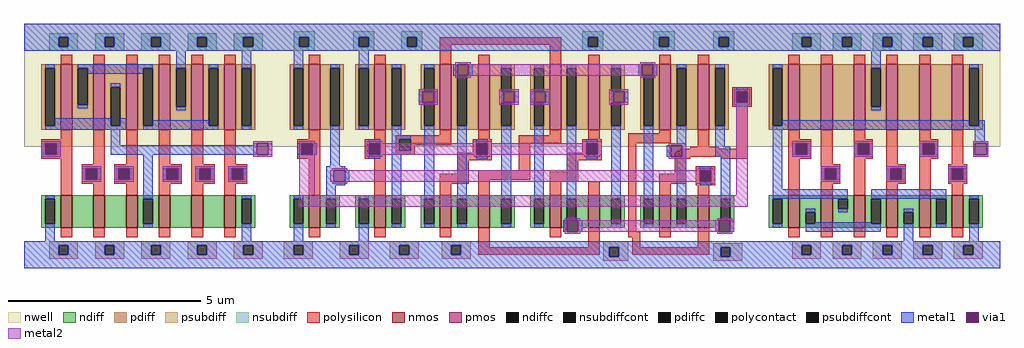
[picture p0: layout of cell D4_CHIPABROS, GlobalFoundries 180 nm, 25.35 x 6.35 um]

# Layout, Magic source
magic
tech gf180mcuD
use gf180mcu_osu_sc_gp9t3v3__aoi33_1  gf180mcu_osu_sc_gp9t3v3__aoi33_1_0
transform 1 0 -89 0 1 -50
box 106 0 235 127
use gf180mcu_osu_sc_gp9t3v3__mux4_1  gf180mcu_osu_sc_gp9t3v3__mux4_1_0
transform 1 0 180 0 1 -50
box -34 0 215 127
use gf180mcu_osu_sc_gp9t3v3__oai33_1  gf180mcu_osu_sc_gp9t3v3__oai33_1_0
transform 1 0 457 0 1 -47
box -62 -3 67 124
<< end >>

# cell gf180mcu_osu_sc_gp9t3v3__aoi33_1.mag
magic
tech gf180mcuD
<< nwell >>
rect 106 63 241 127
<< nmos >>
rect 125 21 131 38
rect 142 21 148 38
rect 159 21 165 38
rect 176 21 182 38
rect 193 21 199 38
rect 210 21 216 38
<< pmos >>
rect 125 72 131 106
rect 142 72 148 106
rect 159 72 165 106
rect 176 72 182 106
rect 193 72 199 106
rect 210 72 216 106
<< ndiff >>
rect 115 36 125 38
rect 115 23 117 36
rect 122 23 125 36
rect 115 21 125 23
rect 131 21 142 38
rect 148 21 159 38
rect 165 36 176 38
rect 165 23 168 36
rect 173 23 176 36
rect 165 21 176 23
rect 182 21 193 38
rect 199 21 210 38
rect 216 36 226 38
rect 216 23 219 36
rect 224 23 226 36
rect 216 21 226 23
<< pdiff >>
rect 115 104 125 106
rect 115 74 117 104
rect 122 74 125 104
rect 115 72 125 74
rect 131 104 142 106
rect 131 85 134 104
rect 139 85 142 104
rect 131 72 142 85
rect 148 94 159 106
rect 148 74 151 94
rect 156 74 159 94
rect 148 72 159 74
rect 165 104 176 106
rect 165 74 168 104
rect 173 74 176 104
rect 165 72 176 74
rect 182 104 193 106
rect 182 84 185 104
rect 190 84 193 104
rect 182 72 193 84
rect 199 104 210 106
rect 199 74 202 104
rect 207 74 210 104
rect 199 72 210 74
rect 216 104 226 106
rect 216 74 219 104
rect 224 74 226 104
rect 216 72 226 74
<< ndiffc >>
rect 117 23 122 36
rect 168 23 173 36
rect 219 23 224 36
<< pdiffc >>
rect 117 74 122 104
rect 134 85 139 104
rect 151 74 156 94
rect 168 74 173 104
rect 185 84 190 104
rect 202 74 207 104
rect 219 74 224 104
<< psubdiff >>
rect 119 12 134 14
rect 119 7 124 12
rect 129 7 134 12
rect 119 5 134 7
rect 143 12 158 14
rect 143 7 148 12
rect 153 7 158 12
rect 143 5 158 7
rect 167 12 182 14
rect 167 7 172 12
rect 177 7 182 12
rect 167 5 182 7
rect 191 12 206 14
rect 191 7 196 12
rect 201 7 206 12
rect 191 5 206 7
rect 215 12 230 14
rect 215 7 220 12
rect 225 7 230 12
rect 215 5 230 7
<< nsubdiff >>
rect 119 120 134 122
rect 119 115 124 120
rect 129 115 134 120
rect 119 113 134 115
rect 143 120 158 122
rect 143 115 148 120
rect 153 115 158 120
rect 143 113 158 115
rect 167 120 182 122
rect 167 115 172 120
rect 177 115 182 120
rect 167 113 182 115
rect 191 120 206 122
rect 191 115 196 120
rect 201 115 206 120
rect 191 113 206 115
rect 215 120 230 122
rect 215 115 220 120
rect 225 115 230 120
rect 215 113 230 115
<< psubdiffcont >>
rect 124 7 129 12
rect 148 7 153 12
rect 172 7 177 12
rect 196 7 201 12
rect 220 7 225 12
<< nsubdiffcont >>
rect 124 115 129 120
rect 148 115 153 120
rect 172 115 177 120
rect 196 115 201 120
rect 220 115 225 120
<< polysilicon >>
rect 125 106 131 111
rect 142 106 148 111
rect 159 106 165 111
rect 176 106 182 111
rect 193 106 199 111
rect 210 106 216 111
rect 125 67 131 72
rect 115 65 131 67
rect 115 59 117 65
rect 123 59 131 65
rect 115 57 131 59
rect 125 38 131 57
rect 142 54 148 72
rect 159 54 165 72
rect 136 52 148 54
rect 136 46 138 52
rect 144 46 148 52
rect 136 44 148 46
rect 153 52 165 54
rect 153 46 155 52
rect 161 46 165 52
rect 153 44 165 46
rect 142 38 148 44
rect 159 38 165 44
rect 176 54 182 72
rect 193 54 199 72
rect 210 54 216 72
rect 176 52 188 54
rect 176 46 180 52
rect 186 46 188 52
rect 176 44 188 46
rect 193 52 205 54
rect 193 46 197 52
rect 203 46 205 52
rect 193 44 205 46
rect 210 52 222 54
rect 210 46 214 52
rect 220 46 222 52
rect 210 44 222 46
rect 176 38 182 44
rect 193 38 199 44
rect 210 38 216 44
rect 125 16 131 21
rect 142 16 148 21
rect 159 16 165 21
rect 176 16 182 21
rect 193 16 199 21
rect 210 16 216 21
<< polycontact >>
rect 117 59 123 65
rect 138 46 144 52
rect 155 46 161 52
rect 180 46 186 52
rect 197 46 203 52
rect 214 46 220 52
<< metal1 >>
rect 106 120 241 127
rect 106 115 124 120
rect 129 115 148 120
rect 153 115 172 120
rect 177 115 196 120
rect 201 115 220 120
rect 225 115 241 120
rect 106 113 241 115
rect 117 104 122 106
rect 134 104 173 106
rect 139 101 168 104
rect 134 83 139 85
rect 151 94 156 96
rect 122 74 151 78
rect 156 74 159 78
rect 117 72 159 74
rect 185 104 190 113
rect 185 82 190 84
rect 202 104 207 106
rect 173 74 202 77
rect 168 72 207 74
rect 219 104 224 113
rect 219 72 224 74
rect 115 59 117 65
rect 123 59 125 65
rect 151 64 156 72
rect 225 64 227 65
rect 151 59 227 64
rect 233 59 235 65
rect 136 46 138 52
rect 144 46 146 52
rect 153 46 155 52
rect 161 46 163 52
rect 117 36 122 38
rect 117 14 122 23
rect 168 36 173 59
rect 178 46 180 52
rect 186 46 188 52
rect 195 46 197 52
rect 203 46 205 52
rect 212 46 214 52
rect 220 46 222 52
rect 168 21 173 23
rect 219 36 224 38
rect 219 14 224 23
rect 106 12 241 14
rect 106 7 124 12
rect 129 7 148 12
rect 153 7 172 12
rect 177 7 196 12
rect 201 7 220 12
rect 225 7 241 12
rect 106 0 241 7
<< via1 >>
rect 117 59 123 65
rect 227 59 233 65
rect 138 46 144 52
rect 155 46 161 52
rect 180 46 186 52
rect 197 46 203 52
rect 214 46 220 52
<< metal2 >>
rect 115 65 125 66
rect 115 59 117 65
rect 123 59 125 65
rect 115 58 125 59
rect 225 65 235 66
rect 225 59 227 65
rect 233 59 235 65
rect 225 58 235 59
rect 136 52 146 53
rect 136 46 138 52
rect 144 46 146 52
rect 136 45 146 46
rect 153 52 163 53
rect 153 46 155 52
rect 161 46 163 52
rect 153 45 163 46
rect 178 52 188 53
rect 178 46 180 52
rect 186 46 188 52
rect 178 45 188 46
rect 195 52 205 53
rect 195 46 197 52
rect 203 46 205 52
rect 195 45 205 46
rect 212 52 222 53
rect 212 46 214 52
rect 220 46 222 52
rect 212 45 222 46
<< labels >>
rlabel nsubdiffcont 124 115 129 120 1 VDD
port 1 n default bidirectional
rlabel metal2 117 59 123 65 7 F
port 5 w default input
rlabel metal2 138 46 144 52 7 E
port 6 w default input
rlabel metal2 155 46 161 52 7 D
port 7 w default input
rlabel metal2 180 46 186 52 7 A
port 4 w default input
rlabel metal2 197 46 203 52 7 B
port 3 w default input
rlabel metal2 214 46 220 52 7 C
port 2 w default input
rlabel psubdiffcont 124 7 129 12 7 VSS
port 9 w default bidirectional
rlabel via1 227 59 233 65 3 OUT
port 8 e default output
<< end >>

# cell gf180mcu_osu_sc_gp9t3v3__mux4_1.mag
magic
tech gf180mcuC
<< nwell >>
rect -34 63 220 127
<< nmos >>
rect -15 21 -9 38
rect 19 21 25 38
rect 53 21 59 38
rect 73 21 79 38
rect 110 21 116 38
rect 130 21 136 38
rect 167 21 173 38
rect 187 21 193 38
<< pmos >>
rect -15 72 -9 106
rect 19 72 25 106
rect 53 72 59 106
rect 73 72 79 106
rect 110 72 116 106
rect 130 72 136 106
rect 167 72 173 106
rect 187 72 193 106
<< ndiff >>
rect -25 36 -15 38
rect -25 23 -23 36
rect -18 23 -15 36
rect -25 21 -15 23
rect -9 36 1 38
rect -9 23 -6 36
rect -1 23 1 36
rect -9 21 1 23
rect 9 36 19 38
rect 9 23 11 36
rect 16 23 19 36
rect 9 21 19 23
rect 25 36 35 38
rect 25 23 28 36
rect 33 23 35 36
rect 25 21 35 23
rect 43 36 53 38
rect 43 23 45 36
rect 50 23 53 36
rect 43 21 53 23
rect 59 36 73 38
rect 59 23 62 36
rect 67 23 73 36
rect 59 21 73 23
rect 79 36 92 38
rect 79 23 85 36
rect 90 23 92 36
rect 79 21 92 23
rect 100 36 110 38
rect 100 23 102 36
rect 107 23 110 36
rect 100 21 110 23
rect 116 36 130 38
rect 116 25 119 36
rect 124 25 130 36
rect 116 21 130 25
rect 136 36 149 38
rect 136 23 142 36
rect 147 23 149 36
rect 136 21 149 23
rect 118 19 127 21
rect 157 36 167 38
rect 157 23 159 36
rect 164 23 167 36
rect 157 21 167 23
rect 173 36 187 38
rect 173 23 176 36
rect 181 23 187 36
rect 173 21 187 23
rect 193 36 206 38
rect 193 25 199 36
rect 204 25 206 36
rect 193 21 206 25
rect 196 19 206 21
<< pdiff >>
rect -25 104 -15 106
rect -25 74 -23 104
rect -18 74 -15 104
rect -25 72 -15 74
rect -9 104 3 106
rect -9 74 -4 104
rect 1 74 3 104
rect -9 72 3 74
rect 9 104 19 106
rect 9 74 11 104
rect 16 74 19 104
rect 9 72 19 74
rect 25 104 35 106
rect 25 74 28 104
rect 33 74 35 104
rect 43 104 53 106
rect 43 93 45 104
rect 42 92 45 93
rect 50 92 53 104
rect 42 86 53 92
rect 42 85 45 86
rect 25 72 35 74
rect 43 74 45 85
rect 50 74 53 86
rect 43 72 53 74
rect 59 100 73 106
rect 59 74 62 100
rect 67 74 73 100
rect 59 72 73 74
rect 79 104 92 106
rect 79 92 85 104
rect 90 92 92 104
rect 79 86 92 92
rect 79 74 85 86
rect 90 74 92 86
rect 79 72 92 74
rect 100 104 110 106
rect 100 92 102 104
rect 107 92 110 104
rect 100 86 110 92
rect 100 74 102 86
rect 107 74 110 86
rect 100 72 110 74
rect 116 104 130 106
rect 116 74 119 104
rect 124 74 130 104
rect 116 72 130 74
rect 136 104 149 106
rect 136 92 142 104
rect 147 92 149 104
rect 156 100 167 106
rect 136 86 149 92
rect 136 74 142 86
rect 147 74 149 86
rect 136 72 149 74
rect 157 74 159 100
rect 164 74 167 100
rect 157 72 167 74
rect 173 104 187 106
rect 173 74 176 104
rect 181 74 187 104
rect 173 72 187 74
rect 193 104 203 106
rect 193 74 196 104
rect 201 74 203 104
rect 193 72 203 74
<< ndiffc >>
rect -23 23 -18 36
rect -6 23 -1 36
rect 11 23 16 36
rect 28 23 33 36
rect 45 23 50 36
rect 62 23 67 36
rect 85 23 90 36
rect 102 23 107 36
rect 119 25 124 36
rect 142 23 147 36
rect 159 23 164 36
rect 176 23 181 36
rect 199 25 204 36
<< pdiffc >>
rect -23 74 -18 104
rect -4 74 1 104
rect 11 74 16 104
rect 28 74 33 104
rect 45 92 50 104
rect 45 74 50 86
rect 62 74 67 100
rect 85 92 90 104
rect 85 74 90 86
rect 102 92 107 104
rect 102 74 107 86
rect 119 74 124 104
rect 142 92 147 104
rect 142 74 147 86
rect 159 74 164 100
rect 176 74 181 104
rect 196 74 201 104
<< psubdiff >>
rect -28 12 -13 14
rect -28 7 -23 12
rect -18 7 -13 12
rect -28 5 -13 7
rect 1 12 16 14
rect 1 7 6 12
rect 11 7 16 12
rect 1 5 16 7
rect 27 12 42 14
rect 27 7 32 12
rect 37 7 42 12
rect 27 5 42 7
rect 54 12 69 14
rect 54 7 59 12
rect 64 7 69 12
rect 138 11 151 14
rect 54 5 69 7
rect 138 6 141 11
rect 146 6 151 11
rect 195 11 210 13
rect 138 4 151 6
rect 195 6 199 11
rect 204 6 210 11
rect 195 4 210 6
<< nsubdiff >>
rect -23 120 -12 123
rect -23 115 -20 120
rect -15 115 -12 120
rect -23 113 -12 115
rect 8 120 19 123
rect 8 115 11 120
rect 16 115 19 120
rect 8 113 19 115
rect 33 120 44 123
rect 127 120 138 123
rect 33 115 36 120
rect 41 115 44 120
rect 33 113 44 115
rect 127 115 130 120
rect 135 115 138 120
rect 127 113 138 115
rect 164 120 175 123
rect 164 115 167 120
rect 172 115 175 120
rect 164 113 175 115
rect 195 120 206 123
rect 195 115 198 120
rect 203 115 206 120
rect 195 113 206 115
<< psubdiffcont >>
rect -23 7 -18 12
rect 6 7 11 12
rect 32 7 37 12
rect 59 7 64 12
rect 141 6 146 11
rect 199 6 204 11
<< nsubdiffcont >>
rect -20 115 -15 120
rect 11 115 16 120
rect 36 115 41 120
rect 130 115 135 120
rect 167 115 172 120
rect 198 115 203 120
<< polysilicon >>
rect 53 116 116 120
rect -15 106 -9 111
rect 19 106 25 111
rect 53 106 59 116
rect 73 106 79 111
rect 110 106 116 116
rect 130 106 136 111
rect 167 106 173 111
rect 187 106 193 111
rect 205 92 215 94
rect 205 86 207 92
rect 213 86 215 92
rect 205 84 215 86
rect -15 67 -9 72
rect 19 67 25 72
rect 53 69 59 72
rect -21 65 -9 67
rect -21 59 -19 65
rect -13 59 -9 65
rect -21 57 -9 59
rect 14 65 25 67
rect 14 59 16 65
rect 22 59 25 65
rect 30 67 59 69
rect 73 67 79 72
rect 110 69 116 72
rect 30 61 32 67
rect 38 64 59 67
rect 70 65 80 67
rect 38 61 40 64
rect 30 59 40 61
rect 70 60 72 65
rect 62 59 72 60
rect 78 59 80 65
rect 14 57 25 59
rect -15 38 -9 57
rect 19 38 25 57
rect 62 56 80 59
rect 94 65 116 69
rect 130 67 136 72
rect 167 70 173 72
rect 127 65 137 67
rect 62 49 68 56
rect 94 51 100 65
rect 127 60 129 65
rect 53 44 68 49
rect 73 46 100 51
rect 119 59 129 60
rect 135 59 137 65
rect 119 56 137 59
rect 151 65 173 70
rect 119 50 125 56
rect 53 38 59 44
rect 73 38 79 46
rect 110 45 125 50
rect 110 38 116 45
rect 130 38 136 45
rect -15 16 -9 21
rect 19 16 25 21
rect 53 16 59 21
rect 73 11 79 21
rect 110 16 116 21
rect 130 11 136 21
rect 151 19 155 65
rect 187 63 193 72
rect 183 62 198 63
rect 207 62 213 84
rect 178 61 213 62
rect 176 60 213 61
rect 175 58 213 60
rect 175 57 183 58
rect 199 57 213 58
rect 175 49 181 57
rect 167 44 181 49
rect 186 51 196 53
rect 186 45 188 51
rect 194 45 196 51
rect 167 38 173 44
rect 186 43 196 45
rect 187 38 193 43
rect 151 16 157 19
rect 167 16 173 21
rect 73 7 136 11
rect 153 11 157 16
rect 187 11 193 21
rect 153 7 193 11
<< polycontact >>
rect 207 86 213 92
rect -19 59 -13 65
rect 16 59 22 65
rect 32 61 38 67
rect 72 59 78 65
rect 129 59 135 65
rect 188 45 194 51
<< metal1 >>
rect -34 120 220 127
rect -34 115 -20 120
rect -15 115 11 120
rect 16 115 36 120
rect 41 115 130 120
rect 135 115 167 120
rect 172 115 198 120
rect 203 115 220 120
rect -34 113 220 115
rect -23 104 -18 113
rect -23 72 -18 74
rect -4 104 1 106
rect -21 59 -19 65
rect -13 59 -11 65
rect -4 53 1 74
rect 11 104 16 113
rect 11 72 16 74
rect 28 104 33 106
rect 45 104 50 106
rect 60 100 62 106
rect 68 100 70 106
rect 85 104 90 106
rect 42 86 44 92
rect 50 86 52 92
rect 28 69 33 74
rect 28 67 38 69
rect 16 65 22 67
rect 16 57 22 59
rect 28 61 32 67
rect 28 59 38 61
rect -6 51 4 53
rect -6 45 -2 51
rect 4 45 6 51
rect -6 43 4 45
rect -23 36 -18 38
rect -23 14 -18 23
rect -6 36 -1 43
rect -6 21 -1 23
rect 11 36 16 38
rect 11 14 16 23
rect 28 36 33 59
rect 28 21 33 23
rect 45 36 50 74
rect 45 21 50 23
rect 62 36 67 74
rect 102 104 107 106
rect 119 104 124 106
rect 85 86 86 92
rect 92 86 94 92
rect 100 86 102 92
rect 108 86 110 92
rect 72 65 78 67
rect 72 57 78 59
rect 62 21 67 23
rect 85 36 90 74
rect 85 21 90 23
rect 102 36 107 74
rect 119 36 124 74
rect 142 104 147 106
rect 156 100 158 106
rect 164 100 166 106
rect 176 104 181 106
rect 142 86 143 92
rect 149 86 151 92
rect 129 65 135 67
rect 129 57 135 59
rect 142 36 147 74
rect 102 21 107 23
rect 117 19 119 25
rect 125 19 127 25
rect 142 21 147 23
rect 159 36 164 74
rect 176 64 181 74
rect 171 58 173 64
rect 179 58 181 64
rect 196 104 201 106
rect 207 92 213 94
rect 207 84 213 86
rect 196 63 201 74
rect 196 58 204 63
rect 159 21 164 23
rect 176 36 181 58
rect 188 51 194 53
rect 188 43 194 45
rect 199 36 204 58
rect 176 21 181 23
rect 196 19 198 25
rect 204 19 206 25
rect -34 12 220 14
rect -34 7 -23 12
rect -18 7 6 12
rect 11 7 32 12
rect 37 7 59 12
rect 64 11 220 12
rect 64 7 141 11
rect -34 6 141 7
rect 146 6 199 11
rect 204 6 220 11
rect -34 0 220 6
<< via1 >>
rect -19 59 -13 65
rect 62 100 68 106
rect 44 86 50 92
rect 16 59 22 65
rect -2 45 4 51
rect 86 86 92 92
rect 102 86 108 92
rect 72 59 78 65
rect 158 100 164 106
rect 143 86 149 92
rect 129 59 135 65
rect 119 19 125 25
rect 173 58 179 64
rect 207 86 213 92
rect 188 45 194 51
rect 198 19 204 25
<< metal2 >>
rect 61 106 69 107
rect 157 106 165 107
rect 61 100 62 106
rect 68 100 158 106
rect 164 100 166 106
rect 61 99 69 100
rect 157 99 165 100
rect 42 92 52 93
rect 42 86 44 92
rect 50 86 52 92
rect 42 85 52 86
rect 84 92 94 93
rect 84 86 86 92
rect 92 86 94 92
rect 84 85 94 86
rect 100 92 110 93
rect 100 86 102 92
rect 108 86 110 92
rect 100 85 110 86
rect 141 92 151 93
rect 141 86 143 92
rect 149 86 151 92
rect 141 85 151 86
rect 206 92 214 93
rect 206 86 207 92
rect 213 86 214 92
rect 206 85 214 86
rect -20 65 -12 66
rect 15 65 23 66
rect 70 65 80 66
rect 127 65 137 66
rect -20 59 -19 65
rect -13 59 -11 65
rect 15 59 16 65
rect 22 59 72 65
rect 78 59 129 65
rect 135 59 137 65
rect 172 64 181 65
rect -20 38 -12 59
rect 15 58 23 59
rect 71 58 79 59
rect 128 58 136 59
rect 172 58 173 64
rect 179 58 181 64
rect 172 57 181 58
rect -3 51 5 52
rect 187 51 195 52
rect -4 45 -2 51
rect 4 45 188 51
rect 194 45 196 51
rect -3 44 5 45
rect 186 44 196 45
rect 207 38 213 85
rect -20 32 213 38
rect 118 25 126 26
rect 197 25 205 26
rect 118 19 119 25
rect 125 19 198 25
rect 204 19 206 25
rect 118 18 126 19
rect 197 18 205 19
<< labels >>
rlabel metal2 -19 59 -13 65 7 C1
port 2 w default input
rlabel metal2 16 59 22 65 7 C0
port 3 w default input
rlabel metal2 173 58 179 64 3 OUT
port 7 e default output
rlabel metal1 -20 115 -15 120 1 VDD
port 1 n default bidirectional
rlabel metal1 -23 7 -18 12 5 VSS
port 4 s default bidirectional
rlabel metal2 143 86 149 92 1 X0
port 5 n
rlabel metal2 102 86 108 92 1 X1
port 6 n
rlabel metal2 86 86 92 92 1 X2
port 9 n
rlabel metal2 44 86 50 92 1 X3
port 8 n
<< end >>

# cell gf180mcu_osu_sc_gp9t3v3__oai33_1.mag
magic
tech gf180mcuD
<< nwell >>
rect -62 60 67 124
<< nmos >>
rect -43 18 -37 35
rect -26 18 -20 35
rect -9 18 -3 35
rect 8 18 14 35
rect 25 18 31 35
rect 42 18 48 35
<< pmos >>
rect -43 69 -37 103
rect -26 69 -20 103
rect -9 69 -3 103
rect 8 69 14 103
rect 25 69 31 103
rect 42 69 48 103
<< ndiff >>
rect -53 33 -43 35
rect -53 20 -51 33
rect -46 20 -43 33
rect -53 18 -43 20
rect -37 26 -26 35
rect -37 20 -34 26
rect -29 20 -26 26
rect -37 18 -26 20
rect -20 33 -9 35
rect -20 28 -17 33
rect -12 28 -9 33
rect -20 18 -9 28
rect -3 33 8 35
rect -3 20 0 33
rect 5 20 8 33
rect -3 18 8 20
rect 14 26 25 35
rect 14 20 17 26
rect 22 20 25 26
rect 14 18 25 20
rect 31 33 42 35
rect 31 20 34 33
rect 39 20 42 33
rect 31 18 42 20
rect 48 33 58 35
rect 48 20 51 33
rect 56 20 58 33
rect 48 18 58 20
<< pdiff >>
rect -53 101 -43 103
rect -53 71 -51 101
rect -46 71 -43 101
rect -53 69 -43 71
rect -37 69 -26 103
rect -20 69 -9 103
rect -3 101 8 103
rect -3 81 0 101
rect 5 81 8 101
rect -3 69 8 81
rect 14 69 25 103
rect 31 69 42 103
rect 48 101 58 103
rect 48 71 51 101
rect 56 71 58 101
rect 48 69 58 71
<< ndiffc >>
rect -51 20 -46 33
rect -34 20 -29 26
rect -17 28 -12 33
rect 0 20 5 33
rect 17 20 22 26
rect 34 20 39 33
rect 51 20 56 33
<< pdiffc >>
rect -51 71 -46 101
rect 0 81 5 101
rect 51 71 56 101
<< psubdiff >>
rect -41 9 -26 11
rect -41 4 -36 9
rect -31 4 -26 9
rect -41 2 -26 4
rect -20 9 -5 11
rect -20 4 -15 9
rect -10 4 -5 9
rect -20 2 -5 4
rect 1 9 16 11
rect 1 4 6 9
rect 11 4 16 9
rect 1 2 16 4
rect 22 9 37 11
rect 22 4 27 9
rect 32 4 37 9
rect 22 2 37 4
rect 43 9 58 11
rect 43 4 48 9
rect 53 4 58 9
rect 43 2 58 4
<< nsubdiff >>
rect -41 117 -26 119
rect -41 112 -36 117
rect -31 112 -26 117
rect -41 110 -26 112
rect -20 117 -5 119
rect -20 112 -15 117
rect -10 112 -5 117
rect -20 110 -5 112
rect 1 117 16 119
rect 1 112 6 117
rect 11 112 16 117
rect 1 110 16 112
rect 22 117 37 119
rect 22 112 27 117
rect 32 112 37 117
rect 22 110 37 112
rect 43 117 58 119
rect 43 112 48 117
rect 53 112 58 117
rect 43 110 58 112
<< psubdiffcont >>
rect -36 4 -31 9
rect -15 4 -10 9
rect 6 4 11 9
rect 27 4 32 9
rect 48 4 53 9
<< nsubdiffcont >>
rect -36 112 -31 117
rect -15 112 -10 117
rect 6 112 11 117
rect 27 112 32 117
rect 48 112 53 117
<< polysilicon >>
rect -43 103 -37 108
rect -26 103 -20 108
rect -9 103 -3 108
rect 8 103 14 108
rect 25 103 31 108
rect 42 103 48 108
rect -43 64 -37 69
rect -43 62 -31 64
rect -43 56 -39 62
rect -33 56 -31 62
rect -43 54 -31 56
rect -43 35 -37 54
rect -26 51 -20 69
rect -9 64 -3 69
rect -9 62 1 64
rect -9 56 -7 62
rect -1 56 1 62
rect -9 54 1 56
rect -26 49 -16 51
rect -26 43 -24 49
rect -18 43 -16 49
rect -26 41 -16 43
rect -26 35 -20 41
rect -9 35 -3 54
rect 8 51 14 69
rect 25 64 31 69
rect 25 62 35 64
rect 25 56 27 62
rect 33 56 35 62
rect 25 54 35 56
rect 8 49 18 51
rect 8 43 10 49
rect 16 43 18 49
rect 8 41 18 43
rect 8 35 14 41
rect 25 35 31 54
rect 42 51 48 69
rect 40 49 50 51
rect 40 43 42 49
rect 48 43 50 49
rect 40 41 50 43
rect 42 35 48 41
rect -43 13 -37 18
rect -26 13 -20 18
rect -9 13 -3 18
rect 8 13 14 18
rect 25 13 31 18
rect 42 13 48 18
<< polycontact >>
rect -39 56 -33 62
rect -7 56 -1 62
rect -24 43 -18 49
rect 27 56 33 62
rect 10 43 16 49
rect 42 43 48 49
<< metal1 >>
rect -62 117 67 124
rect -62 112 -36 117
rect -31 112 -15 117
rect -10 112 6 117
rect 11 112 27 117
rect 32 112 48 117
rect 53 112 67 117
rect -62 110 67 112
rect -51 101 -46 103
rect 0 101 5 110
rect 0 79 5 81
rect 51 101 56 103
rect -46 71 51 74
rect 56 71 59 74
rect -51 69 59 71
rect -51 38 -46 69
rect 54 63 59 69
rect 53 62 61 63
rect -41 56 -39 62
rect -33 56 -31 62
rect -9 56 -7 62
rect -1 56 1 62
rect 25 56 27 62
rect 33 56 35 62
rect 53 56 54 62
rect 60 56 61 62
rect 53 55 61 56
rect -26 43 -24 49
rect -18 43 -16 49
rect 8 43 10 49
rect 16 43 18 49
rect 40 43 42 49
rect 48 43 50 49
rect -51 33 -12 38
rect -51 18 -46 20
rect -34 26 -29 28
rect -17 26 -12 28
rect 0 33 39 38
rect -29 20 0 21
rect -34 16 5 20
rect 17 26 22 28
rect 17 11 22 20
rect 34 18 39 20
rect 51 33 56 35
rect 51 11 56 20
rect -62 9 67 11
rect -62 4 -36 9
rect -31 4 -15 9
rect -10 4 6 9
rect 11 4 27 9
rect 32 4 48 9
rect 53 4 67 9
rect -62 -3 67 4
<< via1 >>
rect -39 56 -33 62
rect -7 56 -1 62
rect 27 56 33 62
rect 54 56 60 62
rect -24 43 -18 49
rect 10 43 16 49
rect 42 43 48 49
<< metal2 >>
rect -41 62 -31 63
rect -41 56 -39 62
rect -33 56 -31 62
rect -41 55 -31 56
rect -9 62 1 63
rect -9 56 -7 62
rect -1 56 1 62
rect -9 55 1 56
rect 25 62 35 63
rect 25 56 27 62
rect 33 56 35 62
rect 25 55 35 56
rect 53 62 61 63
rect 53 56 54 62
rect 60 56 61 62
rect 53 55 61 56
rect -26 49 -16 50
rect -26 43 -24 49
rect -18 43 -16 49
rect -26 42 -16 43
rect 8 49 18 50
rect 8 43 10 49
rect 16 43 18 49
rect 8 42 18 43
rect 40 49 50 50
rect 40 43 42 49
rect 48 43 50 49
rect 40 42 50 43
<< labels >>
rlabel metal1 -36 112 -31 117 1 VDD
port 8 n
rlabel metal2 54 56 60 62 1 OUT
port 7 n
rlabel metal2 -39 56 -33 62 1 C
port 3 n
rlabel metal2 -24 43 -18 49 1 B
port 2 n
rlabel metal2 -7 56 -1 62 1 A
port 1 n
rlabel metal2 10 43 16 49 1 D
port 4 n
rlabel metal2 27 56 33 62 1 E
port 5 n
rlabel metal2 42 43 48 49 1 F
port 6 n
rlabel metal1 -36 4 -31 9 1 VSS
port 9 n
<< end >>
